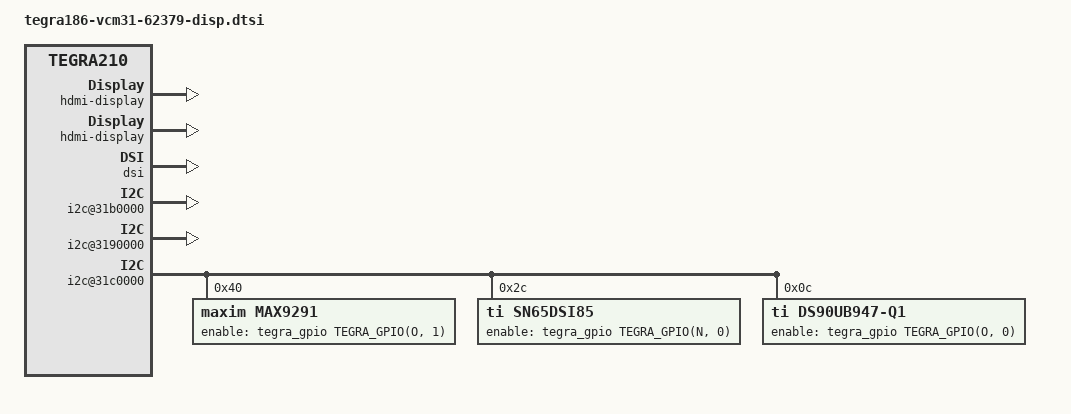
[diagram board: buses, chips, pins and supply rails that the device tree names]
/*
 * tegra186-vcm31-62379-disp.dtsi: VCM3.1 based P2382(sunstreaker)
 * display dtsi.
 *
 * Copyright (c) 2016, NVIDIA CORPORATION.  All rights reserved.
 *
 * This program is free software; you can redistribute it and/or modify
 * it under the terms of the GNU General Public License as published by
 * the Free Software Foundation; version 2 of the License.
 *
 * This program is distributed in the hope that it will be useful, but WITHOUT
 * ANY WARRANTY; without even the implied warranty of MERCHANTABILITY or
 * FITNESS FOR A PARTICULAR PURPOSE.  See the GNU General Public License for
 * more details.
 */

#include <dt-bindings/display/tegra-dc.h>
#include <dt-bindings/display/tegra-panel.h>

#include "panel-s-wuxga-8-0.dtsi"
#include "tegra210-display-p2393-0000-a00-panel-dsi-1080p.dtsi"
#include "tegra210-display-p2393-0000-a00-panel-dsi-25x16.dtsi"
#include "tegra186-hdmi.dtsi"

/ {
	host1x {
		status = "okay";

		nvdisplay@15200000 {
			status = "okay";
			nvidia,dc-flags = <TEGRA_DC_FLAG_ENABLED>;
			nvidia,emc-clk-rate = <300000000>;
			nvidia,fb-bpp = <32>; /* bits per pixel */
			nvidia,fb-win = <0>;
			win-mask = <0x03>;
			nvidia,dc-ctrlnum = <0>;
			nvidia,dc-or-node = "/host1x/sor";
		};

		nvdisplay@15210000 {
			status = "okay";
			nvidia,dc-flags = <TEGRA_DC_FLAG_ENABLED>;
			nvidia,emc-clk-rate = <300000000>;
			nvidia,fb-bpp = <32>; /* bits per pixel */
			nvidia,fb-win = <2>;
			win-mask = <0x0c>;
			nvidia,dc-ctrlnum = <1>;
			nvidia,dc-or-node = "/host1x/dsi";
		};

		nvdisplay@15220000 {
			status = "okay";
			nvidia,dc-flags = <TEGRA_DC_FLAG_ENABLED>;
			nvidia,emc-clk-rate = <300000000>;
			nvidia,fb-bpp = <32>; /* bits per pixel */
			nvidia,fb-win = <4>;
			win-mask = <0x30>;
			nvidia,dc-ctrlnum = <2>;
			nvidia,dc-or-node = "/host1x/sor1";
		};

		sor{
			status = "okay";
			nvidia,xbar-ctrl = <2 1 0 3 4>;
			nvidia,ddc-i2c-bus = <&dp_aux_ch0_i2c>;
			nvidia,hpd-gpio = <&tegra_gpio TEGRA_GPIO(P, 0) 0>;
			hdmi-display {
				status = "okay";
				compatible = "hdmi,display";

				disp-default-out {
					nvidia,out-type = <TEGRA_DC_OUT_HDMI>;
					nvidia,out-flags = <TEGRA_DC_OUT_HOTPLUG_LOW>;
					nvidia,out-parent-clk = "plld2";
					nvidia,out-align = <TEGRA_DC_ALIGN_MSB>;
					nvidia,out-order = <TEGRA_DC_ORDER_RED_BLUE>;
					nvidia,out-xres = <4096>;
					nvidia,out-yres = <2160>;
				};
			};
		};

		sor1 {
			status = "okay";
			nvidia,xbar-ctrl = <2 1 0 3 4>;
			nvidia,ddc-i2c-bus = <&dp_aux_ch1_i2c>;
			nvidia,hpd-gpio = <&tegra_gpio TEGRA_GPIO(P, 1) 1>;

			hdmi-display {
				status = "okay";
				compatible = "hdmi,display";
				nvidia,edid = [	//EDID1280x720x60Hz.hex
					00 FF FF FF FF FF FF 00 22 49 00 02 00 00 00 00
					0B 16 01 03 68 00 00 8C EE EE 91 A3 54 4C 99 26
					0F 50 54 00 00 00 01 01 01 01 01 01 01 01 01 01
					01 01 01 01 01 01 2E 1D 00 80 51 D0 1C 20 40 80
					35 00 00 00 00 00 00 1E D8 18 00 30 41 00 1E 30
					30 68 34 00 00 00 00 00 00 18 00 00 00 FD 00 32
					55 1E A0 10 00 00 00 00 00 00 00 00 00 00 00 00
					00 00 00 E1 C0 E1 40 01 00 01 00 01 00 0A 00 5F
					];
				nvidia,hdmi-gmsl-bridge = <TEGRA_HDMI_ENABLE>;

				disp-default-out {
					nvidia,out-type = <TEGRA_DC_OUT_HDMI>;
					nvidia,out-flags = <TEGRA_DC_OUT_HOTPLUG_LOW>;
					nvidia,out-parent-clk = "plld3";
					nvidia,out-align = <TEGRA_DC_ALIGN_MSB>;
					nvidia,out-order = <TEGRA_DC_ORDER_RED_BLUE>;
					nvidia,out-hotplug-state = <1>;	/*TEGRA_HPD_STATE_FORCE_ASSERT*/
					nvidia,out-xres = <1280>;
					nvidia,out-yres = <720>;

				};
				/* default display timing for test
				 * (only the first entry is effective) */
				/*display-timings {
					1280x720-32 {
						clock-frequency = <74250000>;
						hactive = <1280>;
						vactive = <720>;
						hfront-porch = <110>;
						hback-porch = <220>;
						hsync-len = <40>;
						vfront-porch = <5>;
						vback-porch = <20>;
						vsync-len = <5>;
						nvidia,h-ref-to-sync = <1>;
						nvidia,v-ref-to-sync = <1>;
					};
				};*/
			};
		};

		dpaux@155c0000 {
			status = "okay";
		};
		dpaux@15040000 {
			status = "okay";
		};

		dsi {   /* dsi@15300000 */
			status = "okay";
			nvidia,dsi-controller-vs = <DSI_VS_1>;
			nvidia,enable-hs-clk-in-lp-mode = <0>;
			panel-dsi-1080p-p2382 {  /* p2393 DSI2DP 1920x1080@60 */
				status = "okay";
				nvidia,dsi-video-burst-mode = <TEGRA_DSI_VIDEO_NONE_BURST_MODE>;
				nvidia,dsi-refresh-rate = <60>;
				nvidia,dsi-edp-bridge = <TEGRA_DSI_DISABLE>;
				nvidia,dsi-lvds-bridge = <TEGRA_DSI_ENABLE>;
				nvidia,panel-bridge-en-0-gpio = <&tegra_gpio TEGRA_GPIO(N, 0) 0>;

				/*
				 * for 1920x1080@60Hz@148.5MHz / DSI 8 lanes 223MHz HS clk
				 */
				nvidia,dsi-n-data-lanes = <4>;
				/*nvidia,dsi-ganged-type = <TEGRA_DSI_GANGED_SYMMETRIC_LEFT_RIGHT>;
				nvidia,dsi-ganged-swap-links = <0>;
				nvidia,dsi-ganged-write-to-all-links = <1>;*/
				disp-default-out {
					nvidia,out-type = <TEGRA_DC_OUT_DSI>;
					nvidia,out-flags = <TEGRA_DC_OUT_CONTINUOUS_MODE>;
					nvidia,out-parent-clk = "pll_d_out1";
					nvidia,out-xres = <1920>;
					nvidia,out-yres = <1080>;
				};
				display-timings {
					1920x1080-32 {
						clock-frequency = <148500000>;
						hactive = <1920>;
						vactive = <1080>;
						hfront-porch = <88>;
						hback-porch = <148>;
						hsync-len = <44>;
						vfront-porch = <4>;
						vback-porch = <36>;
						vsync-len = <5>;
						nvidia,h-ref-to-sync = <1>;
						nvidia,v-ref-to-sync = <1>;
					};
				};

			};
		};
	};

	i2c@31b0000 {  //i2c6, dp_aux_ch0_i2c
		status = "okay";
	};
	i2c@3190000 {  //i2c4, dp_aux_ch1_i2c
		status = "okay";
	};
	i2c@31c0000 {  //i2c7. Schematic: I2CE -> MAX9291_I2C
		status = "okay";
		max9291@40 {
			compatible = "maxim,max9291";
			reg = <0x40>;
			status = "okay";
			maxim,enable-gpio = <&tegra_gpio TEGRA_GPIO(O, 1) 0>;
		};

		/* DSI to LVDS bridge */
		sn65dsi85@2c {
			compatible = "ti,sn65dsi85";
			reg = <0x2c>;
			status = "okay";
			ti,enable-gpio = <&tegra_gpio TEGRA_GPIO(N, 0) 0>;
			ti,pll-refclk-cfg = <0xB>; /* 137.5 < LVDS CLK < 154 MHz, HS_CLK_SRC=D-PHY */
			ti,h-pulse-width-low = <0x2c>;
			ti,h-pulse-width-high = <0x00>;
			ti,v-pulse-width-low = <0x05>;
			ti,v-pulse-width-high = <0x00>;
			ti,h-back-porch = <0x94>;
			ti,v-back-porch = <0x24>;
			ti,h-front-porch = <0x58>;
			ti,v-front-porch = <0x04>;
		};

		/* LVDS to FPDlink bridge */
		ds90ub947-q1@0C {
			compatible = "ti,ds90ub947-q1";
			reg = <0x0C>;
			ti,enable-gpio = <&tegra_gpio TEGRA_GPIO(O, 0) 0>;

			/* Set OLDI_IN_MODE to single-pixel mode */
			init-regs = <0x4F 0x40 0x40>;
		};
	};

	mipical {
		status = "okay";
	};

	/delete-node/ backlight;
};
